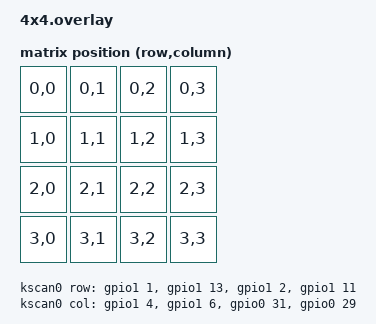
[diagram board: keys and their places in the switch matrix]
/*
 * Copyright (c) 2025 idesignstuff
 * SPDX-License-Identifier: MIT
 */

#include <dt-bindings/zmk/matrix_transform.h>
#include <physical_layouts.dtsi>

/ {
    kscan0: kscan0 {
        compatible = "zmk,kscan-gpio-matrix";
        diode-direction = "col2row";
        wakeup-source;

        col-gpios
            = <&gpio1  4 GPIO_ACTIVE_HIGH>  // column 0
            , <&gpio1  6 GPIO_ACTIVE_HIGH>  // column 1
            , <&gpio0 31 GPIO_ACTIVE_HIGH>  // column 2
            , <&gpio0 29 GPIO_ACTIVE_HIGH>  // column 3
            ;            

        row-gpios
            = <&gpio1  1 (GPIO_ACTIVE_HIGH | GPIO_PULL_DOWN)> // row 0
            , <&gpio1 13 (GPIO_ACTIVE_HIGH | GPIO_PULL_DOWN)> // row 1
            , <&gpio1  2 (GPIO_ACTIVE_HIGH | GPIO_PULL_DOWN)> // row 2
            , <&gpio1 11 (GPIO_ACTIVE_HIGH | GPIO_PULL_DOWN)> // row 3
            ;
    };
};


/ {
    default_transform: keymap_transform0 {
        compatible = "zmk,matrix-transform";
        columns = <4>; // Length of the "col-gpios" array
        rows = <3>; // Length of the "row-gpios" array
        map = <
        //   Key 1 | Key 2 | Key 3 | Key 4
            RC(0,0) RC(0,1) RC(0,2) RC(0,3)
        //   Key 5 | Key 6 | Key 7 | Key 8
            RC(1,0) RC(1,1) RC(1,2) RC(1,3)
        //   Key 9 |Key 10 |Key 11 |Key 12
            RC(2,0) RC(2,1) RC(2,2) RC(2,3)
        //   Key 13 |Key 14 |Key 15 |Key 16
            RC(3,0) RC(3,1) RC(3,2) RC(3,3)
        >;
    };
};

/ {
    default_layout: default_layout {
        compatible = "zmk,physical-layout";
        display-name = "Default Layout";
        transform = <&default_transform>;
        kscan = <&kscan_composite>;
        keys  //                     w   h    x    y     rot    rx    ry
            = <&key_physical_attrs 100 100    0    0       0     0     0>
            , <&key_physical_attrs 100 100  100    0       0     0     0>
            , <&key_physical_attrs 100 100  200    0       0     0     0>
            , <&key_physical_attrs 100 100  300    0       0     0     0>
            , <&key_physical_attrs 100 100    0  100       0     0     0>
            , <&key_physical_attrs 100 100  100  100       0     0     0>
            , <&key_physical_attrs 100 100  200  100       0     0     0>
            , <&key_physical_attrs 100 100  300  100       0     0     0>
            , <&key_physical_attrs 100 100    0  200       0     0     0>
            , <&key_physical_attrs 100 100  100  200       0     0     0>
            , <&key_physical_attrs 100 100  200  200       0     0     0>
            , <&key_physical_attrs 100 100  300  200       0     0     0>
            ;
    };
};

